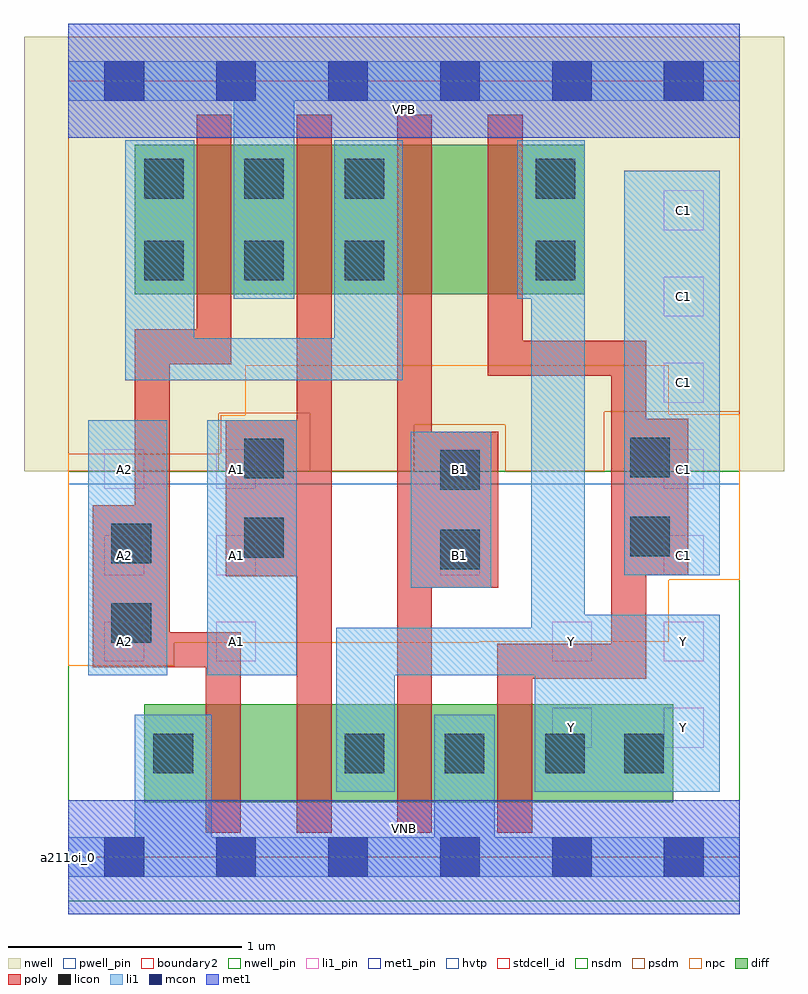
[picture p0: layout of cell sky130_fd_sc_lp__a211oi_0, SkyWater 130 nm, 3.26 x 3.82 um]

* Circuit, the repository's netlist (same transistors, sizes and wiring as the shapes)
* Copyright 2020 The SkyWater PDK Authors
*
* Licensed under the Apache License, Version 2.0 (the "License");
* you may not use this file except in compliance with the License.
* You may obtain a copy of the License at
*
*     https://www.apache.org/licenses/LICENSE-2.0
*
* Unless required by applicable law or agreed to in writing, software
* distributed under the License is distributed on an "AS IS" BASIS,
* WITHOUT WARRANTIES OR CONDITIONS OF ANY KIND, either express or implied.
* See the License for the specific language governing permissions and
* limitations under the License.
*
* SPDX-License-Identifier: Apache-2.0

.SUBCKT sky130_fd_sc_lp__a211oi_0 A1 A2 B1 C1 VGND VNB VPB VPWR Y
*.PININFO A1:I A2:I B1:I C1:I VGND:I VNB:I VPB:I VPWR:I Y:O
MMPA0 pndA A1 VPWR VPB sky130_fd_pr__pfet_01v8_hvt m=1 w=0.64U l=0.15U mult=1 sa=0.265
+ sb=0.265 sd=0.28 area=0.063 perim=1.14
MMPA1 pndA A2 VPWR VPB sky130_fd_pr__pfet_01v8_hvt m=1 w=0.64U l=0.15U mult=1 sa=0.265
+ sb=0.265 sd=0.28 area=0.063 perim=1.14
MMPB0 pndB B1 pndA VPB sky130_fd_pr__pfet_01v8_hvt m=1 w=0.64U l=0.15U mult=1 sa=0.265
+ sb=0.265 sd=0.28 area=0.063 perim=1.14
MMPC0 Y C1 pndB VPB sky130_fd_pr__pfet_01v8_hvt m=1 w=0.64U l=0.15U mult=1 sa=0.265
+ sb=0.265 sd=0.28 area=0.063 perim=1.14
MMNA0 Y A1 sndA1 VNB sky130_fd_pr__nfet_01v8 m=1 w=0.42U l=0.15U mult=1 sa=0.265
+ sb=0.265 sd=0.28 area=0.063 perim=1.14
MMNA1 sndA1 A2 VGND VNB sky130_fd_pr__nfet_01v8 m=1 w=0.42U l=0.15U mult=1 sa=0.265
+ sb=0.265 sd=0.28 area=0.063 perim=1.14
MMNB0 Y B1 VGND VNB sky130_fd_pr__nfet_01v8 m=1 w=0.42U l=0.15U mult=1 sa=0.265
+ sb=0.265 sd=0.28 area=0.063 perim=1.14
MMNC0 Y C1 VGND VNB sky130_fd_pr__nfet_01v8 m=1 w=0.42U l=0.15U mult=1 sa=0.265
+ sb=0.265 sd=0.28 area=0.063 perim=1.14
.ENDS sky130_fd_sc_lp__a211oi_0

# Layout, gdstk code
import gdstk
lib = gdstk.Library(unit=1e-6, precision=1e-09)
def R(c, l, rs):  # rectangles x0, y0, x1, y1
    for r in rs: c.add(gdstk.rectangle(r[:2], r[2:], *l))
def A(c, l, x, y, w, h, nx, ny, dx, dy):  # array of equal rectangles
    R(c, l, [(x+i*dx, y+j*dy, x+i*dx+w, y+j*dy+h) for i in range(nx) for j in range(ny)])
def P(c, l, *ps):  # polygons
    for p in ps: c.add(gdstk.Polygon(p, *l))
nwell_pin = (64, 16)
nwell = (64, 20)
diff = (65, 20)
poly = (66, 20)
licon = (66, 44)
li1_pin = (67, 16)
li1 = (67, 20)
mcon = (67, 44)
met1_pin = (68, 16)
met1 = (68, 20)
hvtp = (78, 44)
stdcell_id = (81, 4)
nsdm = (93, 44)
psdm = (94, 20)
npc = (95, 20)
pwell_pin = (122, 16)
boundary2 = (236, 0)

sky130_fd_sc_lp__a211oi_ = lib.new_cell('sky130_fd_sc_lp__a211oi_0')
R(sky130_fd_sc_lp__a211oi_, nwell_pin, [(0,3.085,2.88,3.33)])
R(sky130_fd_sc_lp__a211oi_, nwell, [(-0.19,1.655,3.07,3.52)])
R(sky130_fd_sc_lp__a211oi_, diff, [(0.325,0.235,2.595,0.655), (0.285,2.415,2.215,3.055)])
P(sky130_fd_sc_lp__a211oi_, poly, [(0.74,0.965),(0.435,0.965),(0.435,2.115),(0.7,2.115),(0.7,3.185),(0.55,3.185),(0.55,2.265),(0.285,2.265),(0.285,1.51),(0.105,1.51),(0.105,0.815),(0.59,0.815),(0.59,0.105),(0.74,0.105)],
  [(1.13,3.185),(0.98,3.185),(0.98,1.875),(0.675,1.875),(0.675,1.205),(0.98,1.205),(0.98,0.105),(1.13,0.105)],
  [(1.845,1.825),(1.56,1.825),(1.56,3.185),(1.41,3.185),(1.41,0.105),(1.56,0.105),(1.56,1.155),(1.845,1.155)],
  [(2.66,1.88),(2.48,1.88),(2.48,2.215),(1.95,2.215),(1.95,3.185),(1.8,3.185),(1.8,2.065),(2.33,2.065),(2.33,0.915),(1.84,0.915),(1.84,0.105),(1.99,0.105),(1.99,0.765),(2.48,0.765),(2.48,1.21),(2.66,1.21)])
A(sky130_fd_sc_lp__a211oi_, licon, 1.185, 0.36, 0.17, 0.17, 3, 1, 0.43, 0)
A(sky130_fd_sc_lp__a211oi_, licon, 0.325, 2.475, 0.17, 0.17, 3, 2, 0.43, 0.35)
R(sky130_fd_sc_lp__a211oi_, licon, [(0.365,0.36,0.535,0.53), (2.385,0.36,2.555,0.53), (0.185,0.92,0.355,1.09), (1.595,1.235,1.765,1.405), (0.185,1.26,0.355,1.43), (0.755,1.285,0.925,1.455), (2.41,1.29,2.58,1.46), (1.595,1.575,1.765,1.745), (0.755,1.625,0.925,1.795), (2.41,1.63,2.58,1.8), (2.005,2.475,2.175,2.645), (2.005,2.825,2.175,2.995)])
A(sky130_fd_sc_lp__a211oi_, li1_pin, 0.155, 0.84, 0.17, 0.17, 1, 3, 0, 0.37)
A(sky130_fd_sc_lp__a211oi_, li1_pin, 0.635, 1.21, 0.17, 0.17, 3, 2, 0.96, 0.37)
A(sky130_fd_sc_lp__a211oi_, li1_pin, 2.555, 1.95, 0.17, 0.17, 1, 3, 0, 0.37)
R(sky130_fd_sc_lp__a211oi_, li1_pin, [(2.075,0.47,2.245,0.64), (2.555,0.47,2.725,0.64), (0.635,0.84,0.805,1.01), (2.075,0.84,2.245,1.01), (2.555,0.84,2.725,1.01)])
R(sky130_fd_sc_lp__a211oi_, li1, [(0.085,0.78,0.425,1.875), (0.595,0.78,0.98,1.875), (1.47,1.155,1.815,1.825), (2.385,1.21,2.795,2.945)])
P(sky130_fd_sc_lp__a211oi_, li1, [(1.435,3.075),(1.14,3.075),(1.14,2.225),(0.54,2.225),(0.54,3.075),(0.245,3.075),(0.245,2.045),(1.435,2.045)],
  [(2.88,3.415),(0,3.415),(0,3.245),(0.71,3.245),(0.71,2.395),(0.97,2.395),(0.97,3.245),(2.88,3.245)],
  [(2.88,0.085),(1.83,0.085),(1.83,0.61),(1.57,0.61),(1.57,0.085),(0.615,0.085),(0.615,0.61),(0.285,0.61),(0.285,0.085),(0,0.085),(0,-0.085),(2.88,-0.085)],
  [(2.795,1.04),(2.215,1.04),(2.215,3.075),(1.925,3.075),(1.925,2.395),(1.985,2.395),(1.985,0.985),(1.15,0.985),(1.15,0.28),(1.4,0.28),(1.4,0.78),(2,0.78),(2,0.28),(2.795,0.28)])
A(sky130_fd_sc_lp__a211oi_, mcon, 0.155, -0.085, 0.17, 0.17, 6, 2, 0.48, 3.33)
R(sky130_fd_sc_lp__a211oi_, met1_pin, [(0,0,2.88,0.245), (0,3.085,2.88,3.33)])
R(sky130_fd_sc_lp__a211oi_, met1, [(0,-0.245,2.88,0.245), (0,3.085,2.88,3.575)])
R(sky130_fd_sc_lp__a211oi_, hvtp, [(0,1.6,2.88,3.33)])
R(sky130_fd_sc_lp__a211oi_, stdcell_id, [(0,0,2.88,3.33)])
R(sky130_fd_sc_lp__a211oi_, nsdm, [(0,-0.19,2.88,1.655)])
P(sky130_fd_sc_lp__a211oi_, psdm, [(2.88,3.52),(0,3.52),(0,1.655),(0.645,1.655),(0.645,1.905),(1.035,1.905),(1.035,1.655),(1.485,1.655),(1.485,1.855),(1.875,1.855),(1.875,1.655),(2.3,1.655),(2.3,1.91),(2.88,1.91)])
P(sky130_fd_sc_lp__a211oi_, npc, [(2.88,1.9),(2.575,1.9),(2.575,2.11),(0.76,2.11),(0.76,1.895),(0.655,1.895),(0.655,1.73),(0,1.73),(0,0.82),(0.455,0.82),(0.455,0.92),(1.76,0.92),(1.76,0.925),(2.575,0.925),(2.575,1.19),(2.88,1.19)])
R(sky130_fd_sc_lp__a211oi_, pwell_pin, [(0,0,2.88,0.245)])
R(sky130_fd_sc_lp__a211oi_, boundary2, [(0,0,2.88,3.33)])
sky130_fd_sc_lp__a211oi_.add(gdstk.Label('VNB', (1.44,0.123), layer=64, texttype=59))
sky130_fd_sc_lp__a211oi_.add(gdstk.Label('VPB', (1.44,3.208), layer=64, texttype=5))
sky130_fd_sc_lp__a211oi_.add(gdstk.Label('a211oi_0', (0,0), layer=83, texttype=44))
sky130_fd_sc_lp__a211oi_.add(gdstk.Label('VPWR', (1.44,3.208), layer=68, texttype=5))
sky130_fd_sc_lp__a211oi_.add(gdstk.Label('VGND', (1.44,0.123), layer=68, texttype=5))
sky130_fd_sc_lp__a211oi_.add(gdstk.Label('A1', (0.72,0.925), layer=67, texttype=5))
sky130_fd_sc_lp__a211oi_.add(gdstk.Label('A1', (0.72,1.295), layer=67, texttype=5))
sky130_fd_sc_lp__a211oi_.add(gdstk.Label('A1', (0.72,1.665), layer=67, texttype=5))
sky130_fd_sc_lp__a211oi_.add(gdstk.Label('Y', (2.16,0.555), layer=67, texttype=5))
sky130_fd_sc_lp__a211oi_.add(gdstk.Label('Y', (2.64,0.555), layer=67, texttype=5))
sky130_fd_sc_lp__a211oi_.add(gdstk.Label('A2', (0.24,0.925), layer=67, texttype=5))
sky130_fd_sc_lp__a211oi_.add(gdstk.Label('A2', (0.24,1.295), layer=67, texttype=5))
sky130_fd_sc_lp__a211oi_.add(gdstk.Label('A2', (0.24,1.665), layer=67, texttype=5))
sky130_fd_sc_lp__a211oi_.add(gdstk.Label('B1', (1.68,1.295), layer=67, texttype=5))
sky130_fd_sc_lp__a211oi_.add(gdstk.Label('B1', (1.68,1.665), layer=67, texttype=5))
sky130_fd_sc_lp__a211oi_.add(gdstk.Label('C1', (2.64,1.295), layer=67, texttype=5))
sky130_fd_sc_lp__a211oi_.add(gdstk.Label('C1', (2.64,1.665), layer=67, texttype=5))
sky130_fd_sc_lp__a211oi_.add(gdstk.Label('C1', (2.64,2.035), layer=67, texttype=5))
sky130_fd_sc_lp__a211oi_.add(gdstk.Label('C1', (2.64,2.405), layer=67, texttype=5))
sky130_fd_sc_lp__a211oi_.add(gdstk.Label('C1', (2.64,2.775), layer=67, texttype=5))
sky130_fd_sc_lp__a211oi_.add(gdstk.Label('Y', (2.16,0.925), layer=67, texttype=5))
sky130_fd_sc_lp__a211oi_.add(gdstk.Label('Y', (2.64,0.925), layer=67, texttype=5))

lib.write_gds('sky130_fd_sc_lp__a211oi_0.gds')
